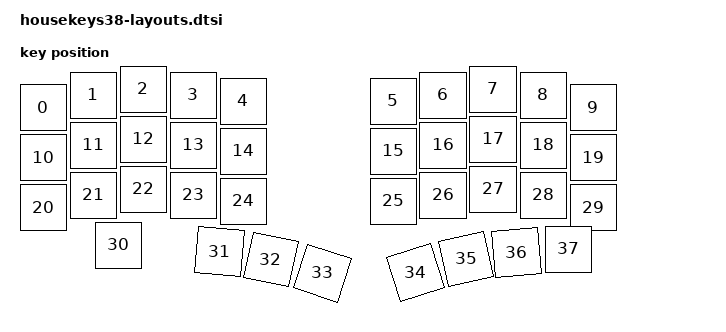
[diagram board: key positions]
#include <physical_layouts.dtsi>

/ {
    housekeys38_layout: housekeys38_layout {
        compatible = "zmk,physical-layout";
        display-name = "housekeys38";
        transform = <&default_transform>;

        keys  //                     w   h    x    y     rot    rx    ry
            = <&key_physical_attrs 100 100    0   37       0     0     0>
            , <&key_physical_attrs 100 100  100   12       0     0     0>
            , <&key_physical_attrs 100 100  200    0       0     0     0>
            , <&key_physical_attrs 100 100  300   12       0     0     0>
            , <&key_physical_attrs 100 100  400   24       0     0     0>
            , <&key_physical_attrs 100 100  700   24       0     0     0>
            , <&key_physical_attrs 100 100  800   12       0     0     0>
            , <&key_physical_attrs 100 100  900    0       0     0     0>
            , <&key_physical_attrs 100 100 1000   12       0     0     0>
            , <&key_physical_attrs 100 100 1100   37       0     0     0>
            , <&key_physical_attrs 100 100    0  137       0     0     0>
            , <&key_physical_attrs 100 100  100  112       0     0     0>
            , <&key_physical_attrs 100 100  200  100       0     0     0>
            , <&key_physical_attrs 100 100  300  112       0     0     0>
            , <&key_physical_attrs 100 100  400  124       0     0     0>
            , <&key_physical_attrs 100 100  700  124       0     0     0>
            , <&key_physical_attrs 100 100  800  112       0     0     0>
            , <&key_physical_attrs 100 100  900  100       0     0     0>
            , <&key_physical_attrs 100 100 1000  112       0     0     0>
            , <&key_physical_attrs 100 100 1100  137       0     0     0>
            , <&key_physical_attrs 100 100    0  237       0     0     0>
            , <&key_physical_attrs 100 100  100  212       0     0     0>
            , <&key_physical_attrs 100 100  200  200       0     0     0>
            , <&key_physical_attrs 100 100  300  212       0     0     0>
            , <&key_physical_attrs 100 100  400  224       0     0     0>
            , <&key_physical_attrs 100 100  700  224       0     0     0>
            , <&key_physical_attrs 100 100  800  212       0     0     0>
            , <&key_physical_attrs 100 100  900  200       0     0     0>
            , <&key_physical_attrs 100 100 1000  212       0     0     0>
            , <&key_physical_attrs 100 100 1100  237       0     0     0>
            , <&key_physical_attrs 100 100  150  312       0     0     0>
            , <&key_physical_attrs 100 100  360  320     500   350   300>
            , <&key_physical_attrs 100 100  450  330    1200   450   412>
            , <&key_physical_attrs 100 100  555  350    1800   550   423>
            , <&key_physical_attrs 100 100  750  350 (-1800)   850   423>
            , <&key_physical_attrs 100 100  850  350 (-1200)   850   412>
            , <&key_physical_attrs 100 100  940  330  (-500)   960   300>
            , <&key_physical_attrs 100 100 1050  320       0     0     0>
            ;
    };

    housekeys38_position_map {
        compatible = "zmk,physical-layout-position-map";

        default_layout: default_layout {
            physical-layout = <&housekeys38_layout>;
            positions
                = <0  1  2  3  4  5  6  7  8  9>
                , <10 11 12 13 14 15 16 17 18 19>
                , <20 21 22 23 24 25 26 27 28 29>
                , <   30 31 32 33 34 35 36 37   >;
        };
    };
};
